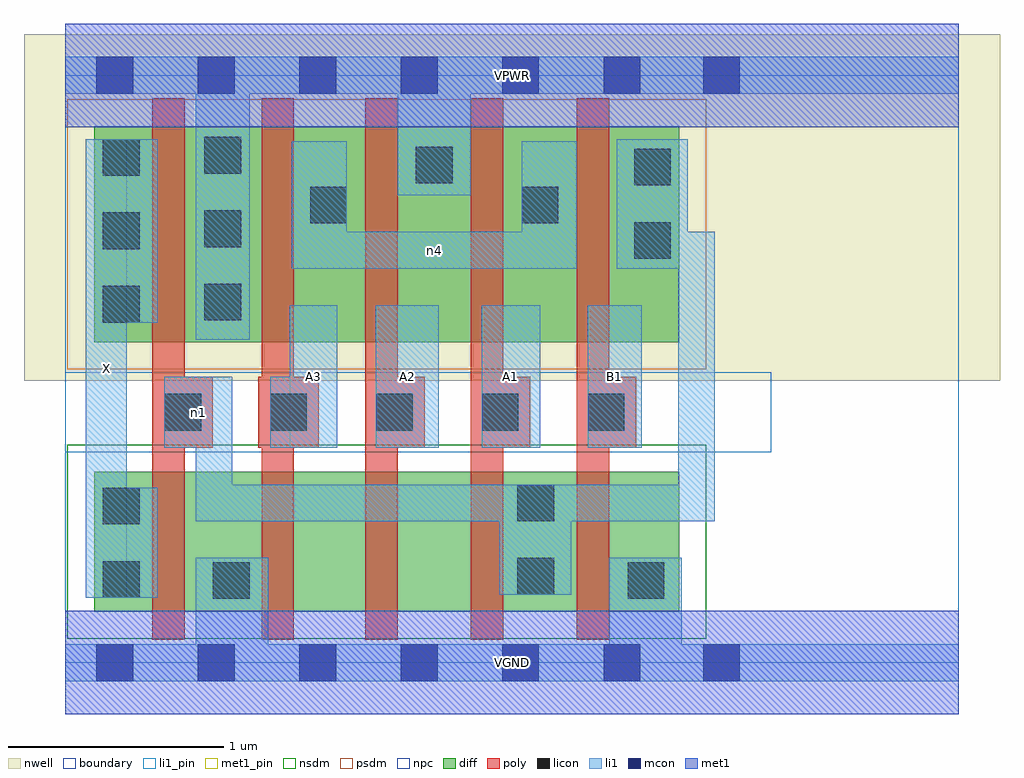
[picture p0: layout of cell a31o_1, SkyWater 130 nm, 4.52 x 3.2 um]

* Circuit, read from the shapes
.subckt a31o_1 A1 A2 A3 B1 VGND VPWR X n1 n4
XM1 VGND n1 X VSUBS sky130_fd_pr__nfet_01v8 w=0.65 l=0.15
XM2 n2 A3 VGND VSUBS sky130_fd_pr__nfet_01v8 w=0.65 l=0.15
XM3 n3 A2 n2 VSUBS sky130_fd_pr__nfet_01v8 w=0.65 l=0.15
XM4 n1 A1 n3 VSUBS sky130_fd_pr__nfet_01v8 w=0.65 l=0.15
XM5 VGND B1 n1 VSUBS sky130_fd_pr__nfet_01v8 w=0.65 l=0.15
XM6 VPWR n1 X n5 sky130_fd_pr__pfet_01v8 w=1 l=0.15
XM7 n4 A3 VPWR n5 sky130_fd_pr__pfet_01v8 w=1 l=0.15
XM8 VPWR A2 n4 n5 sky130_fd_pr__pfet_01v8 w=1 l=0.15
XM9 n4 A1 VPWR n5 sky130_fd_pr__pfet_01v8 w=1 l=0.15
XM10 n1 B1 n4 n5 sky130_fd_pr__pfet_01v8 w=1 l=0.15
.ends

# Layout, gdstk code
import gdstk
lib = gdstk.Library(unit=1e-6, precision=1e-09)
def R(c, l, rs):  # rectangles x0, y0, x1, y1
    for r in rs: c.add(gdstk.rectangle(r[:2], r[2:], *l))
def A(c, l, x, y, w, h, nx, ny, dx, dy):  # array of equal rectangles
    R(c, l, [(x+i*dx, y+j*dy, x+i*dx+w, y+j*dy+h) for i in range(nx) for j in range(ny)])
nwell = (64, 20)
diff = (65, 20)
poly = (66, 20)
licon = (66, 44)
li1_pin = (67, 16)
li1 = (67, 20)
mcon = (67, 44)
met1_pin = (68, 16)
met1 = (68, 20)
nsdm = (93, 44)
psdm = (94, 20)
npc = (95, 20)
boundary = (235, 4)

a31o_1 = lib.new_cell('a31o_1')
R(a31o_1, nwell, [(-0.19,1.305,4.33,2.91), (0,1.305,4.14,2.91)])
R(a31o_1, diff, [(0.135,0.235,2.845,0.885), (0.135,1.485,2.845,2.485)])
A(a31o_1, poly, 1.39, 0.105, 0.15, 2.51, 3, 1, 0.49, 0)
A(a31o_1, poly, 1.39, 0.995, 0.275, 0.33, 3, 1, 0.49, 0)
R(a31o_1, poly, [(0.405,0.105,0.555,2.615), (0.91,0.105,1.06,2.615), (0.405,0.995,0.685,1.325), (0.895,0.995,1.175,1.325)])
A(a31o_1, licon, 0.46, 1.075, 0.17, 0.17, 5, 1, 0.49, 0)
A(a31o_1, licon, 0.175, 1.575, 0.17, 0.17, 1, 3, 0, 0.34)
A(a31o_1, licon, 0.645, 1.585, 0.17, 0.17, 1, 3, 0, 0.34)
R(a31o_1, licon, [(0.685,0.295,0.855,0.465), (2.605,0.295,2.775,0.465), (0.175,0.3,0.345,0.47), (2.095,0.315,2.265,0.485), (0.175,0.64,0.345,0.81), (2.095,0.655,2.265,0.825), (2.635,1.87,2.805,2.04), (1.135,2.035,1.305,2.205), (2.115,2.035,2.285,2.205), (2.635,2.21,2.805,2.38), (1.625,2.22,1.795,2.39)])
R(a31o_1, li1_pin, [(0.095,0.3,0.285,2.425), (1.04,0.995,1.26,1.655), (1.44,0.995,1.73,1.655), (1.93,0.995,2.2,1.655), (2.42,0.995,2.67,1.655)])
R(a31o_1, li1, [(0,-0.085,4.14,0.085), (0.605,-0.085,0.94,0.485), (2.52,-0.085,2.855,0.485), (0.095,0.3,0.285,2.425), (0.095,0.3,0.43,0.81), (2.01,0.315,2.345,0.825), (0.605,0.655,3.01,0.825), (0.605,0.655,0.775,1.325), (2.84,0.655,3.01,1.995), (0.46,0.995,0.775,1.325), (0.95,0.995,1.26,1.325), (1.04,0.995,1.26,1.655), (1.44,0.995,1.73,1.655), (1.93,0.995,2.2,1.655), (2.42,0.995,2.67,1.655), (0.605,1.495,0.855,2.805), (0.095,1.575,0.43,2.425), (1.05,1.825,2.37,1.995), (1.05,1.825,1.305,2.415), (2.115,1.825,2.37,2.415), (2.555,1.825,2.885,2.425), (1.54,2.165,1.88,2.805), (0,2.635,4.14,2.805)])
A(a31o_1, mcon, 0.145, -0.085, 0.17, 0.17, 6, 2, 0.47, 2.72)
R(a31o_1, mcon, [(2.955,-0.085,3.125,0.085), (2.955,2.635,3.125,2.805)])
R(a31o_1, met1_pin, [(0,-0.24,4.14,0.24), (0,2.48,4.14,2.96)])
R(a31o_1, met1, [(0,-0.24,4.14,0.24), (0,2.48,4.14,2.96)])
R(a31o_1, nsdm, [(0.01,0.11,2.97,1.01)])
R(a31o_1, psdm, [(0.01,1.36,2.97,2.61)])
R(a31o_1, npc, [(0,0.975,3.27,1.345)])
R(a31o_1, boundary, [(0,0,4.14,2.72)])
a31o_1.add(gdstk.Label('A1', (2.065,1.325), layer=67, texttype=5))
a31o_1.add(gdstk.Label('A2', (1.585,1.325), layer=67, texttype=5))
a31o_1.add(gdstk.Label('A3', (1.15,1.325), layer=67, texttype=5))
a31o_1.add(gdstk.Label('B1', (2.545,1.325), layer=67, texttype=5))
a31o_1.add(gdstk.Label('X', (0.19,1.362), layer=67, texttype=5))
a31o_1.add(gdstk.Label('n4', (1.71,1.91), layer=67, texttype=5))
a31o_1.add(gdstk.Label('n1', (0.617,1.16), layer=67, texttype=5))
a31o_1.add(gdstk.Label('VPWR', (2.07,2.72), layer=68, texttype=5))
a31o_1.add(gdstk.Label('VGND', (2.07,0), layer=68, texttype=5))
a31o_1.add(gdstk.Label('A1', (2.065,1.325), layer=67, texttype=16))
a31o_1.add(gdstk.Label('A2', (1.585,1.325), layer=67, texttype=16))
a31o_1.add(gdstk.Label('A3', (1.15,1.325), layer=67, texttype=16))
a31o_1.add(gdstk.Label('B1', (2.545,1.325), layer=67, texttype=16))
a31o_1.add(gdstk.Label('X', (0.19,1.362), layer=67, texttype=16))
a31o_1.add(gdstk.Label('VPWR', (2.07,2.72), layer=68, texttype=16))
a31o_1.add(gdstk.Label('VGND', (2.07,0), layer=68, texttype=16))

lib.write_gds('a31o_1.gds')
